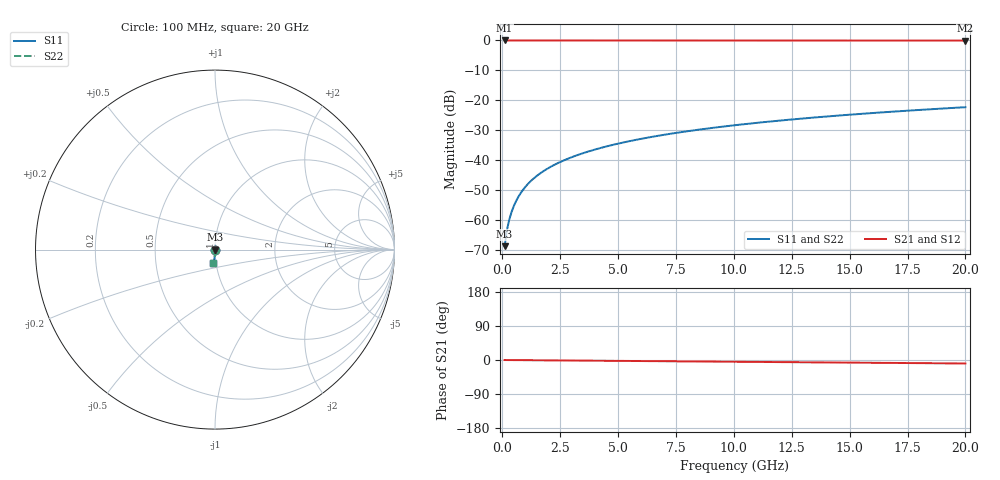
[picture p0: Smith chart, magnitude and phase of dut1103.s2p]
! Touchstone file exported from HFSS 2026.1.0
!  File:  C:/ffzhzh/LocalFiles/Ansys_Project_Files/temp_train_TSV_1103_1783190547_43440.aedt
!  Generated:  02:44:02 AM Jul  5, 2026
!  Design:  TSV
!  Project:  temp_train_TSV_1103_1783190547_43440
! Variables:
!  h_bsmrdl = 2um
!  h_ox = 20um
!  h_rdl = 5um
!  h_sub = 87.56um
!  h_tmrdl = 5um
!  h_tsv = 87.56um
!  h_via = 3um
!  l_bsmrdl = 300um
!  l_sub = 418.54um
!  l_tmrdl = 200um
!  m_sub = 200um
!  pitch = 24.79um
!  r_tsv = 9.27um
!  s_tmrdl = 10um
!  w_bsmrdl = 18um
!  w_sub = 500um
!  w_tmrdl = 12um
!  x_tsv_center1 = 206um
!  x_tsv_center2 = 524um
!  x_tsv_center3 = 736um
!  x_tsv_center4 = 1054um
!  x_tsv_center5 = 1266um
!  x_tsv_center6 = 1584um
# GHz S MA R 50.000000
! Terminal data exported
! Port[1] = TSV1_1_T1
! Port[2] = TSV1_1_T2
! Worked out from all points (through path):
!   200 points, 100 MHz to 20 GHz, reference 50 ohm
!   highest |S21| = 0.00 dB at 100 MHz (marker M1); lowest = 0.0 dB at 20 GHz (marker M2)
!   group delay of S21, straight-line fit = 1.27 ps
!   lowest |S11| = -68.9 dB at 100 MHz (marker M3), VSWR 1.00, Z = 50 - j0.0318 ohm
!   |S11| at or under -10 dB: start of sweep to end of sweep
!   |S22| runs from -68.9 to -22.3 dB; largest |S21 - S12| = 3.2e-15
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0.1  0.0003603 -61.8  0.9998 -0.0  0.9998 -0.0  0.0003603 -61.8
! Gamma 0 0 0 0
! Port Impedance 50 0 50 0
0.2  0.0006691 -73.3  0.9998 -0.1  0.9998 -0.1  0.0006691 -73.3
0.3  0.0009999 -77.2  0.9998 -0.1  0.9998 -0.1  0.0009999 -77.2
0.4  0.001345 -79.0  0.9997 -0.2  0.9997 -0.2  0.001345 -79.0
0.5  0.001701 -80.2  0.9997 -0.2  0.9997 -0.2  0.001701 -80.2
0.7  0.002434 -81.7  0.9996 -0.3  0.9996 -0.3  0.002434 -81.7
0.8  0.002807 -82.3  0.9996 -0.4  0.9996 -0.4  0.002807 -82.3
1  0.00356 -83.4  0.9996 -0.5  0.9996 -0.5  0.00356 -83.4
1.2  0.004315 -84.2  0.9995 -0.6  0.9995 -0.6  0.004315 -84.2
1.4  0.005072 -84.9  0.9995 -0.7  0.9995 -0.7  0.005072 -84.9
1.7  0.006206 -85.7  0.9994 -0.8  0.9994 -0.8  0.006206 -85.7
2  0.00734 -86.4  0.9994 -0.9  0.9994 -0.9  0.00734 -86.4
2.7  0.009989 -87.5  0.9993 -1.3  0.9993 -1.3  0.009989 -87.5
3.5  0.01302 -88.4  0.9992 -1.6  0.9992 -1.6  0.01302 -88.4
4.2  0.01569 -89.0  0.9991 -2.0  0.9991 -2.0  0.01569 -89.0
5  0.01875 -89.6  0.9989 -2.3  0.9989 -2.3  0.01875 -89.6
6.8  0.02565 -90.8  0.9986 -3.1  0.9986 -3.1  0.02565 -90.8
8.3  0.03142 -91.7  0.9983 -3.8  0.9983 -3.8  0.03142 -91.7
10.1  0.03835 -92.7  0.998 -4.7  0.998 -4.7  0.03835 -92.7
13.4  0.05104 -94.5  0.9972 -6.2  0.9972 -6.2  0.05104 -94.5
16.7  0.0637 -96.2  0.9963 -7.7  0.9963 -7.7  0.0637 -96.2
20  0.07633 -97.8  0.9952 -9.2  0.9952 -9.2  0.07633 -97.8
